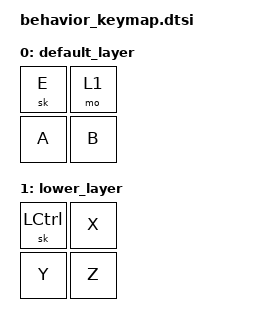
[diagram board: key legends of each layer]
#include <dt-bindings/zmk/keys.h>
#include <behaviors.dtsi>
#include <dt-bindings/zmk/kscan_mock.h>

/ {
	keymap {
		compatible = "zmk,keymap";
		label ="Default keymap";

		default_layer {
			bindings = <
				&sk E &mo 1
				&kp A &kp B>;
		};

		lower_layer {
			bindings = <
				&sk LEFT_CONTROL &kp X
				&kp Y  &kp Z>;
		};
	};
};
